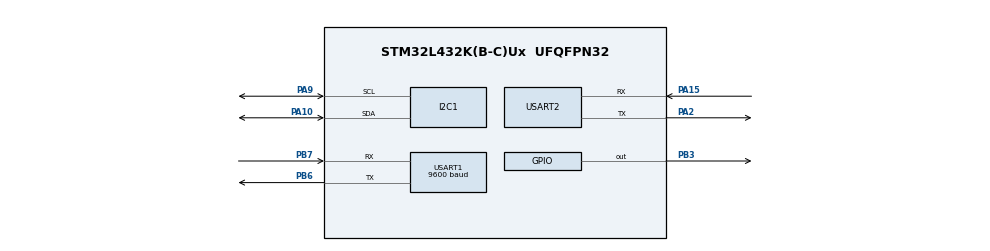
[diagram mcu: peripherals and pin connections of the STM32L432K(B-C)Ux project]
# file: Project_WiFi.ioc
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Mcu.Family=STM32L4
Mcu.Name=STM32L432K(B-C)Ux
Mcu.Package=UFQFPN32
NVIC.PriorityGroup=NVIC_PRIORITYGROUP_4
NVIC.USART1_IRQn=true\:0\:0\:false\:false\:true\:true\:true
NVIC.USART2_IRQn=true\:0\:0\:false\:false\:true\:true\:true
PA10.Mode=I2C
PA10.Signal=I2C1_SDA
PA15\ (JTDI).Mode=Asynchronous
PA15\ (JTDI).Signal=USART2_RX
PA2.Mode=Asynchronous
PA2.Signal=USART2_TX
PA9.Mode=I2C
PA9.Signal=I2C1_SCL
PB3\ (JTDO-TRACESWO).Signal=GPIO_Output
PB6.Mode=Asynchronous
PB6.Signal=USART1_TX
PB7.Mode=Asynchronous
PB7.Signal=USART1_RX
ProjectManager.HeapSize=0x200
ProjectManager.StackSize=0x400
ProjectManager.TargetToolchain=MDK-ARM V5.27
RCC.HSE_VALUE=8000000
RCC.HSI48_VALUE=48000000
RCC.HSI_VALUE=16000000
RCC.LSE_VALUE=32768
RCC.MSI_VALUE=4000000
RCC.VCOOutputFreq_Value=32000000
USART1.BaudRate=9600
USART1.VirtualMode-Asynchronous=VM_ASYNC
USART2.VirtualMode-Asynchronous=VM_ASYNC
board=custom

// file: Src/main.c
/* USER CODE BEGIN Header */
/**
  ******************************************************************************
  * @file           : main.c
  * @brief          : Main program body
  ******************************************************************************
  * @attention
  *
  * <h2><center>&copy; Copyright (c) 2020 STMicroelectronics.
  * All rights reserved.</center></h2>
  *
  * This software component is licensed by ST under BSD 3-Clause license,
  * the "License"; You may not use this file except in compliance with the
  * License. You may obtain a copy of the License at:
  *                        opensource.org/licenses/BSD-3-Clause
  *
  ******************************************************************************
  */
/* USER CODE END Header */

#include "main.h"

/* USER CODE BEGIN Includes */
uint8_t hexToAscii(uint8_t n)//4-bit hex value converted to an ascii character
{
 if (n>=0 && n<=9) n = n + '0';
 else n = n - 10 + 'A';
 return n;
}
uint8_t* htod(uint8_t h[])
{
    if(h[0]>='0'&&h[0]<='9')
        h[0]-='0';
    else
        h[0]=h[0]-'A'+10;
    if(h[1]>='0' && h[1]<='9')
        h[1]-='0';
    else
        h[1]=h[1]-'A'+10;
    int d=h[0]*16 +h[1];
    char t[]={'0','0','0'};
    int i=0;
    while(d>0)
    {
        t[2-i] = d%10+'0';
        d=d/10;
        i++;
    }
    return t;
}
/* USER CODE END Includes */

/* USER CODE BEGIN PTD */
uint8_t rxdata;
/* USER CODE END PTD */

I2C_HandleTypeDef hi2c1;

UART_HandleTypeDef huart1;
UART_HandleTypeDef huart2;

void SystemClock_Config(void);
static void MX_GPIO_Init(void);
static void MX_I2C1_Init(void);
static void MX_USART1_UART_Init(void);
static void MX_USART2_UART_Init(void);

int main(void)
{

  /* MCU Configuration--------------------------------------------------------*/

  /* Reset of all peripherals, Initializes the Flash interface and the Systick. */
  HAL_Init();

  /* Configure the system clock */
  SystemClock_Config();

  /* Initialize all configured peripherals */
  MX_GPIO_Init();
  MX_I2C1_Init();
  MX_USART1_UART_Init();
  MX_USART2_UART_Init();
  /* USER CODE BEGIN 2 */
	if (HAL_I2C_IsDeviceReady(&hi2c1, 0xD0, 10, HAL_MAX_DELAY) == HAL_OK)
	{
		for (int i = 1; i<=10;i++) // indicator of ready device
		{
			HAL_GPIO_TogglePin(GPIOB, GPIO_PIN_3);
			HAL_Delay(250);
		}
	}
	else
	{
		HAL_GPIO_TogglePin(GPIOB, GPIO_PIN_3);
		HAL_Delay(250);
	}
//////////////////////////////////////////////////////////////////////////
	//STM sends a command to get ip
	uint8_t command[]={'!'};
	HAL_UART_Transmit(&huart1,command,sizeof(command),10);
  /* USER CODE END 2 */

  /* Infinite loop */
  /* USER CODE BEGIN WHILE */
	int timebool=0;
	//get temp
	uint8_t control [2], status[2], Tupper[2], Tlower[2];
	status[0]	= 0x0F;
	control[0]	= 0x0E;
	Tupper[0] = 0x11;
	Tlower[0] = 0x12;
	uint8_t temp1[2],*temp2,nsign='-';
	uint8_t tempout[] = {'0','0','0','.','0','0','\r','\n'};
	//get clock
	uint8_t secbuffer [2], minbuffer [2], hourbuffer [2];
	uint8_t dowbuffer [2],datebuffer[2],monthbuffer[2],yearbuffer[2];
	// seconds
	secbuffer[0] = 0x00; //register address
	/*initialization only
	secbuffer[1] = 0x00; //0 seconds
	HAL_I2C_Master_Transmit(&hi2c1, 0xD0, secbuffer, 2, 10);
	*/
	// minutes
	minbuffer[0] = 0x01; //register address
	/*initialization only
	minbuffer[1] = 0x17; // 15 mins
	HAL_I2C_Master_Transmit(&hi2c1, 0xD0, minbuffer, 2, 10);
	*/
	// hours
	hourbuffer[0] = 0x02; //register address
	/*initialization only
	hourbuffer[1] = 0x05;	// 5 am
	HAL_I2C_Master_Transmit(&hi2c1, 0xD0, hourbuffer, 2, 10);
	*/
	//DOW
	dowbuffer[0] = 0x03; //register address
	/*initialization only
	dowbuffer[1] = 0x05; // Thursday
	HAL_I2C_Master_Transmit(&hi2c1, 0xD0, dowbuffer, 2, 10);
	*/
	//date
	datebuffer[0] = 0x04; //register address
	/*initialization only
	datebuffer[1] = 0x21; // 21 may
	HAL_I2C_Master_Transmit(&hi2c1, 0xD0, datebuffer, 2, 10);
	*/
	//month
	monthbuffer[0] = 0x05; //register address
	/*initialization only
	monthbuffer[1] = 0x05; //MAY
	HAL_I2C_Master_Transmit(&hi2c1, 0xD0, monthbuffer, 2, 10);
	*/
	//year
	yearbuffer[0] = 0x06; //register address
	/*initialization only
	yearbuffer[1] = 0x20;	// 2020
	HAL_I2C_Master_Transmit(&hi2c1, 0xD0, yearbuffer, 2, 10);
	*/
	//Receive via I2C and forward to UART
	uint8_t newline[]={'\r', '\n'};
	uint8_t fnewline[]={'F','\r', '\n'};
	uint8_t outf[] ={':', '\t'};
	uint8_t out[] = {0,0,':',0,0,':',0,0,' ',' ','1','\t',0,0,'/',0,0,'/',0,0,'\r','\n'};
 	__HAL_UART_ENABLE_IT(&huart1,UART_IT_RXNE);
	HAL_GPIO_WritePin(GPIOB,GPIO_PIN_3,GPIO_PIN_RESET);
	uint8_t cc1='P';
	uint8_t cc2='E';
  while (1)
  {
    /* USER CODE END WHILE */

    /* USER CODE BEGIN 3 */
		HAL_I2C_Master_Transmit(&hi2c1, 0xD0, status, 1, 10);		//0xD0 is write
		HAL_I2C_Master_Receive(&hi2c1, 0xD1, status+1, 1, 10);	//0xD1 is read
		if((status[1]&0x04) == 0x00)
		{
			HAL_I2C_Master_Transmit(&hi2c1, 0xD0, control, 1, 10);
			HAL_I2C_Master_Receive(&hi2c1, 0xD1, control+1, 1, 10);
			control[1] |= 0x20; 		//set CONV bit (5th)
			HAL_I2C_Master_Transmit(&hi2c1, 0xD0, control, 2, 10);
			HAL_I2C_Master_Transmit(&hi2c1, 0xD0, Tupper, 1, 10);
			HAL_I2C_Master_Receive(&hi2c1, 0xD1, Tupper+1, 1, 10);
			HAL_I2C_Master_Transmit(&hi2c1, 0xD0, Tlower, 1, 10);
			HAL_I2C_Master_Receive(&hi2c1, 0xD1, Tlower+1, 1, 10);
			temp1[0] = hexToAscii(Tupper[1] >> 4);
			temp1[1] = hexToAscii(Tupper[1] & 0x0F);
			temp2 = htod(temp1);
			tempout[0]=temp2[0];
			tempout[1]=temp2[1];
			tempout[2]=temp2[2];
			switch(Tlower[1])
			{
				case 0x00:
					tempout[4] = '0';
					tempout[5] = '0';
					break;
				case 0x40:
					tempout[4] = '2';
					tempout[5] = '5';
					break;
				case 0x80:
					tempout[4] = '5';
					tempout[5] = '0';
					break;
				case 0xc0:
					tempout[4] = '7';
					tempout[5] = '5';
					break;
			}

		}
		//get year
		HAL_I2C_Master_Transmit(&hi2c1, 0xD0, yearbuffer, 1, 10);
		HAL_I2C_Master_Receive(&hi2c1, 0xD1, yearbuffer+1, 1, 10);
		out[18] = hexToAscii(yearbuffer[1] >> 4 );
		out[19] = hexToAscii(yearbuffer[1] & 0x0F );
		//get month
		HAL_I2C_Master_Transmit(&hi2c1, 0xD0, monthbuffer, 1, 10);
		HAL_I2C_Master_Receive(&hi2c1, 0xD1, monthbuffer+1, 1, 10);
		out[15] = hexToAscii((monthbuffer[1] >> 4)& 0x01 );
		out[16] = hexToAscii(monthbuffer[1] & 0x0F );
		//get date
		HAL_I2C_Master_Transmit(&hi2c1, 0xD0, datebuffer, 1, 10);
		HAL_I2C_Master_Receive(&hi2c1, 0xD1, datebuffer+1, 1, 10);
		out[12] = hexToAscii(datebuffer[1] >> 4);
		out[13] = hexToAscii(datebuffer[1] & 0x0F );
		//get day of week
		HAL_I2C_Master_Transmit(&hi2c1, 0xD0, dowbuffer, 1, 10);
		HAL_I2C_Master_Receive(&hi2c1, 0xD1, dowbuffer+1, 1, 10);
		out[10] = hexToAscii(dowbuffer[1] & 0x0F );
		//send seconds register address 00h to read from
		HAL_I2C_Master_Transmit(&hi2c1, 0xD0, secbuffer, 1, 10);
		//read data of register 00h to secbuffer[1]
		HAL_I2C_Master_Receive(&hi2c1, 0xD1, secbuffer+1, 1, 10);
		//prepare UART output
		out[6] = hexToAscii(secbuffer[1] >> 4 );
		out[7] = hexToAscii(secbuffer[1] & 0x0F );
		HAL_I2C_Master_Transmit(&hi2c1, 0xD0, minbuffer, 1, 10);
		HAL_I2C_Master_Receive(&hi2c1, 0xD1, minbuffer+1, 1, 10);
		out[3] = hexToAscii(minbuffer[1] >> 4 );
		out[4] = hexToAscii(minbuffer[1] & 0x0F );
		HAL_I2C_Master_Transmit(&hi2c1, 0xD0, hourbuffer, 1, 10);
		HAL_I2C_Master_Receive(&hi2c1, 0xD1, hourbuffer+1, 1, 10);
		out[0] = hexToAscii((hourbuffer[1] >> 4)&0x01);
		out[1] = hexToAscii(hourbuffer[1] & 0x0F);
		// transmit time to UART
		if(rxdata=='N')
		{
			HAL_UART_Transmit(&huart2,newline, sizeof(newline), 10);
			HAL_GPIO_WritePin(GPIOB,GPIO_PIN_3,GPIO_PIN_SET);
			rxdata=' ';
		}
		if(rxdata=='M')
		{
			timebool=1;
		}
		else if(rxdata =='F')
		{
			HAL_UART_Transmit(&huart2,fnewline, sizeof(fnewline), 10);
			HAL_GPIO_WritePin(GPIOB,GPIO_PIN_3,GPIO_PIN_RESET);
			rxdata=' ';
		}
		else if (rxdata == 'P')
		{

			HAL_UART_Transmit(&huart2,outf, sizeof(outf), 10);
			HAL_UART_Transmit(&huart1, &cc1, sizeof(cc1),10);
			if((Tupper[1] & 0x80) != 0x00)
			{
				HAL_UART_Transmit(&huart2,(uint8_t*) &nsign, 1, 100);
				HAL_UART_Transmit(&huart1,(uint8_t*) &nsign, 1, 100);
			}
			if(tempout[0]=='0')
			{
				HAL_UART_Transmit(&huart2,tempout+1, sizeof(tempout)-1, 10);
				HAL_UART_Transmit(&huart1,tempout+1, sizeof(tempout)-3, 10);
			}
			else
			{
				HAL_UART_Transmit(&huart2,tempout, sizeof(tempout), 10);
				HAL_UART_Transmit(&huart1,tempout, sizeof(tempout)-2, 10);

			}
			HAL_UART_Transmit(&huart1,command,sizeof(command),10);
			rxdata=' ';
			timebool=0;
		}
		else if (rxdata == 'E' && timebool)
		{
			HAL_UART_Transmit(&huart1, &cc2, sizeof(cc2),10);
			HAL_UART_Transmit(&huart2,outf, sizeof(outf), 10);
			HAL_UART_Transmit(&huart2,out, sizeof(out), 10);
			HAL_UART_Transmit(&huart1,out, sizeof(out)-2, 10);
			HAL_UART_Transmit(&huart1,command,sizeof(command),10);
			rxdata=' ';
			timebool=0;
		}
	}

  /* USER CODE END 3 */
}

void SystemClock_Config(void)
{
  RCC_OscInitTypeDef RCC_OscInitStruct = {0};
  RCC_ClkInitTypeDef RCC_ClkInitStruct = {0};
  RCC_PeriphCLKInitTypeDef PeriphClkInit = {0};

  /** Initializes the CPU, AHB and APB busses clocks
  */
  RCC_OscInitStruct.OscillatorType = RCC_OSCILLATORTYPE_MSI;
  RCC_OscInitStruct.MSIState = RCC_MSI_ON;
  RCC_OscInitStruct.MSICalibrationValue = 0;
  RCC_OscInitStruct.MSIClockRange = RCC_MSIRANGE_6;
  RCC_OscInitStruct.PLL.PLLState = RCC_PLL_NONE;
  if (HAL_RCC_OscConfig(&RCC_OscInitStruct) != HAL_OK)
  {
    Error_Handler();
  }
  /** Initializes the CPU, AHB and APB busses clocks
  */
  RCC_ClkInitStruct.ClockType = RCC_CLOCKTYPE_HCLK|RCC_CLOCKTYPE_SYSCLK
                              |RCC_CLOCKTYPE_PCLK1|RCC_CLOCKTYPE_PCLK2;
  RCC_ClkInitStruct.SYSCLKSource = RCC_SYSCLKSOURCE_MSI;
  RCC_ClkInitStruct.AHBCLKDivider = RCC_SYSCLK_DIV1;
  RCC_ClkInitStruct.APB1CLKDivider = RCC_HCLK_DIV1;
  RCC_ClkInitStruct.APB2CLKDivider = RCC_HCLK_DIV1;

  if (HAL_RCC_ClockConfig(&RCC_ClkInitStruct, FLASH_LATENCY_0) != HAL_OK)
  {
    Error_Handler();
  }
  PeriphClkInit.PeriphClockSelection = RCC_PERIPHCLK_USART1|RCC_PERIPHCLK_USART2
                              |RCC_PERIPHCLK_I2C1;
  PeriphClkInit.Usart1ClockSelection = RCC_USART1CLKSOURCE_PCLK2;
  PeriphClkInit.Usart2ClockSelection = RCC_USART2CLKSOURCE_PCLK1;
  PeriphClkInit.I2c1ClockSelection = RCC_I2C1CLKSOURCE_PCLK1;
  if (HAL_RCCEx_PeriphCLKConfig(&PeriphClkInit) != HAL_OK)
  {
    Error_Handler();
  }
  /** Configure the main internal regulator output voltage
  */
  if (HAL_PWREx_ControlVoltageScaling(PWR_REGULATOR_VOLTAGE_SCALE1) != HAL_OK)
  {
    Error_Handler();
  }
}

static void MX_I2C1_Init(void)
{

  hi2c1.Instance = I2C1;
  hi2c1.Init.Timing = 0x00000E14;
  hi2c1.Init.OwnAddress1 = 0;
  hi2c1.Init.AddressingMode = I2C_ADDRESSINGMODE_7BIT;
  hi2c1.Init.DualAddressMode = I2C_DUALADDRESS_DISABLE;
  hi2c1.Init.OwnAddress2 = 0;
  hi2c1.Init.OwnAddress2Masks = I2C_OA2_NOMASK;
  hi2c1.Init.GeneralCallMode = I2C_GENERALCALL_DISABLE;
  hi2c1.Init.NoStretchMode = I2C_NOSTRETCH_DISABLE;
  if (HAL_I2C_Init(&hi2c1) != HAL_OK)
  {
    Error_Handler();
  }
  /** Configure Analogue filter
  */
  if (HAL_I2CEx_ConfigAnalogFilter(&hi2c1, I2C_ANALOGFILTER_ENABLE) != HAL_OK)
  {
    Error_Handler();
  }
  /** Configure Digital filter
  */
  if (HAL_I2CEx_ConfigDigitalFilter(&hi2c1, 0) != HAL_OK)
  {
    Error_Handler();
  }

}

static void MX_USART1_UART_Init(void)
{

  huart1.Instance = USART1;
  huart1.Init.BaudRate = 115200;
  huart1.Init.WordLength = UART_WORDLENGTH_8B;
  huart1.Init.StopBits = UART_STOPBITS_1;
  huart1.Init.Parity = UART_PARITY_NONE;
  huart1.Init.Mode = UART_MODE_TX_RX;
  huart1.Init.HwFlowCtl = UART_HWCONTROL_NONE;
  huart1.Init.OverSampling = UART_OVERSAMPLING_16;
  huart1.Init.OneBitSampling = UART_ONE_BIT_SAMPLE_DISABLE;
  huart1.AdvancedInit.AdvFeatureInit = UART_ADVFEATURE_NO_INIT;
  if (HAL_UART_Init(&huart1) != HAL_OK)
  {
    Error_Handler();
  }

}

static void MX_USART2_UART_Init(void)
{

  huart2.Instance = USART2;
  huart2.Init.BaudRate = 115200;
  huart2.Init.WordLength = UART_WORDLENGTH_8B;
  huart2.Init.StopBits = UART_STOPBITS_1;
  huart2.Init.Parity = UART_PARITY_NONE;
  huart2.Init.Mode = UART_MODE_TX_RX;
  huart2.Init.HwFlowCtl = UART_HWCONTROL_NONE;
  huart2.Init.OverSampling = UART_OVERSAMPLING_16;
  huart2.Init.OneBitSampling = UART_ONE_BIT_SAMPLE_DISABLE;
  huart2.AdvancedInit.AdvFeatureInit = UART_ADVFEATURE_NO_INIT;
  if (HAL_UART_Init(&huart2) != HAL_OK)
  {
    Error_Handler();
  }

}

static void MX_GPIO_Init(void)
{
  GPIO_InitTypeDef GPIO_InitStruct = {0};

  /* GPIO Ports Clock Enable */
  __HAL_RCC_GPIOA_CLK_ENABLE();
  __HAL_RCC_GPIOB_CLK_ENABLE();

  /*Configure GPIO pin Output Level */
  HAL_GPIO_WritePin(GPIOB, GPIO_PIN_3, GPIO_PIN_RESET);

  /*Configure GPIO pin : PB3 */
  GPIO_InitStruct.Pin = GPIO_PIN_3;
  GPIO_InitStruct.Mode = GPIO_MODE_OUTPUT_PP;
  GPIO_InitStruct.Pull = GPIO_NOPULL;
  GPIO_InitStruct.Speed = GPIO_SPEED_FREQ_LOW;
  HAL_GPIO_Init(GPIOB, &GPIO_InitStruct);

}

void Error_Handler(void)
{
}

/************************ (C) COPYRIGHT STMicroelectronics *****END OF FILE****/
